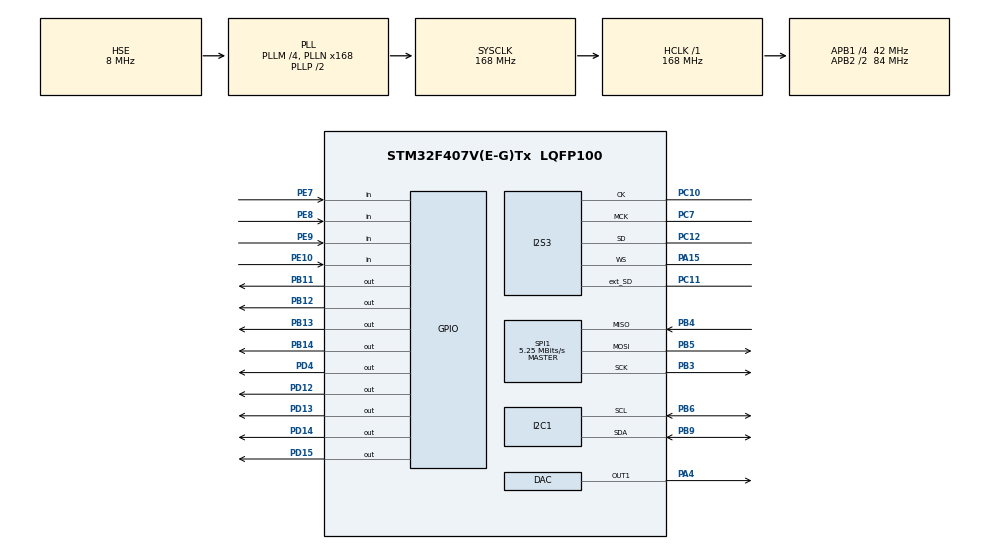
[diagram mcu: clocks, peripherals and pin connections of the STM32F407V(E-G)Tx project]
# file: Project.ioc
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Dma.Request0=SPI3_TX
Dma.SPI3_TX.0.Direction=DMA_MEMORY_TO_PERIPH
Dma.SPI3_TX.0.FIFOMode=DMA_FIFOMODE_ENABLE
Dma.SPI3_TX.0.FIFOThreshold=DMA_FIFO_THRESHOLD_FULL
Dma.SPI3_TX.0.Instance=DMA1_Stream5
Dma.SPI3_TX.0.MemBurst=DMA_MBURST_SINGLE
Dma.SPI3_TX.0.MemDataAlignment=DMA_MDATAALIGN_HALFWORD
Dma.SPI3_TX.0.MemInc=DMA_MINC_ENABLE
Dma.SPI3_TX.0.Mode=DMA_CIRCULAR
Dma.SPI3_TX.0.PeriphBurst=DMA_PBURST_SINGLE
Dma.SPI3_TX.0.PeriphDataAlignment=DMA_PDATAALIGN_HALFWORD
Dma.SPI3_TX.0.PeriphInc=DMA_PINC_DISABLE
Dma.SPI3_TX.0.Priority=DMA_PRIORITY_LOW
I2S3.AudioFreq=I2S_AUDIOFREQ_48K
I2S3.CPOL=I2S_CPOL_LOW
I2S3.DataFormat=I2S_DATAFORMAT_16B
I2S3.ErrorAudioFreq=-2.34 %
I2S3.FullDuplexMode=I2S_FULLDUPLEXMODE_ENABLE
I2S3.Instance=SPI$Index
I2S3.RealAudioFreq=46.875 KHz
I2S3.Standard=I2S_STANDARD_PHILIPS
I2S3.VirtualMode=I2S_MODE_MASTER
Mcu.Family=STM32F4
Mcu.Name=STM32F407V(E-G)Tx
Mcu.Package=LQFP100
NVIC.DMA1_Stream5_IRQn=true\:0\:0\:false\:false\:true\:false\:true
NVIC.PriorityGroup=NVIC_PRIORITYGROUP_4
NVIC.TIM1_BRK_TIM9_IRQn=true\:0\:0\:false\:false\:true\:true\:true
NVIC.TIM2_IRQn=true\:0\:0\:false\:false\:true\:true\:true
NVIC.TIM3_IRQn=true\:0\:0\:false\:false\:true\:true\:true
NVIC.TIM5_IRQn=true\:0\:0\:false\:false\:true\:true\:true
PA15.Mode=Full_Duplex_Master
PA15.Signal=I2S3_WS
PA4.Signal=COMP_DAC1_group
PB11.Signal=GPIO_Output
PB12.Signal=GPIO_Output
PB13.Signal=GPIO_Output
PB14.Signal=GPIO_Output
PB3.Mode=Full_Duplex_Master
PB3.Signal=SPI1_SCK
PB4.Mode=Full_Duplex_Master
PB4.Signal=SPI1_MISO
PB5.Mode=Full_Duplex_Master
PB5.Signal=SPI1_MOSI
PB6.Mode=I2C
PB6.Signal=I2C1_SCL
PB9.Mode=I2C
PB9.Signal=I2C1_SDA
PC10.Mode=Full_Duplex_Master
PC10.Signal=I2S3_CK
PC11.Mode=Full_Duplex_Master
PC11.Signal=I2S3_ext_SD
PC12.Mode=Full_Duplex_Master
PC12.Signal=I2S3_SD
PC7.Mode=Master_Clock_Activated
PC7.Signal=I2S3_MCK
PD12.Signal=GPIO_Output
PD13.Signal=GPIO_Output
PD14.Signal=GPIO_Output
PD15.Signal=GPIO_Output
PD4.Signal=GPIO_Output
PE10.GPIO_PuPd=GPIO_PULLDOWN
PE10.Signal=GPIO_Input
PE7.GPIO_PuPd=GPIO_PULLDOWN
PE7.Signal=GPIO_Input
PE8.GPIO_PuPd=GPIO_PULLDOWN
PE8.Signal=GPIO_Input
PE9.GPIO_PuPd=GPIO_PULLDOWN
PE9.Signal=GPIO_Input
PH0-OSC_IN.Mode=HSE-External-Oscillator
PH0-OSC_IN.Signal=RCC_OSC_IN
PH1-OSC_OUT.Mode=HSE-External-Oscillator
PH1-OSC_OUT.Signal=RCC_OSC_OUT
ProjectManager.HeapSize=0x200
ProjectManager.StackSize=0x400
ProjectManager.TargetToolchain=SW4STM32
RCC.48MHZClocksFreq_Value=84000000
RCC.AHBFreq_Value=168000000
RCC.APB1CLKDivider=RCC_HCLK_DIV4
RCC.APB1Freq_Value=42000000
RCC.APB1TimFreq_Value=84000000
RCC.APB2CLKDivider=RCC_HCLK_DIV2
RCC.APB2Freq_Value=84000000
RCC.APB2TimFreq_Value=168000000
RCC.CortexFreq_Value=168000000
RCC.HCLKFreq_Value=168000000
RCC.HSE_VALUE=8000000
RCC.HSI_VALUE=16000000
RCC.LSE_VALUE=32768
RCC.PLLI2SN=96
RCC.PLLM=4
RCC.PLLN=168
RCC.PLLSourceVirtual=RCC_PLLSOURCE_HSE
RCC.SYSCLKFreq_VALUE=168000000
RCC.SYSCLKSource=RCC_SYSCLKSOURCE_PLLCLK
RCC.VCOOutputFreq_Value=336000000
SH.COMP_DAC1_group.0=DAC_OUT1,DAC_OUT1
SPI1.BaudRatePrescaler=SPI_BAUDRATEPRESCALER_16
SPI1.CalculateBaudRate=5.25 MBits/s
SPI1.Direction=SPI_DIRECTION_2LINES
SPI1.Mode=SPI_MODE_MASTER
SPI1.VirtualType=VM_MASTER
TIM2.Period=9
TIM2.Prescaler=524
TIM2.TIM_MasterOutputTrigger=TIM_TRGO_UPDATE
TIM3.Period=84
TIM3.Prescaler=99
TIM3.TIM_MasterOutputTrigger=TIM_TRGO_UPDATE
TIM5.Period=9
TIM5.Prescaler=83
TIM5.TIM_MasterOutputTrigger=TIM_TRGO_UPDATE
TIM9.Period=1999
TIM9.Prescaler=8399
VP_TIM2_VS_ClockSourceINT.Mode=Internal
VP_TIM3_VS_ClockSourceINT.Mode=Internal
VP_TIM5_VS_ClockSourceINT.Mode=Internal
VP_TIM9_VS_ClockSourceINT.Mode=Internal
board=custom

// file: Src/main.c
/* USER CODE BEGIN Header */
/**
 ******************************************************************************
 * @file           : main.c
 * @brief          : Main program body
 ******************************************************************************
 * @attention
 *
 * <h2><center>&copy; Copyright (c) 2019 STMicroelectronics.
 * All rights reserved.</center></h2>
 *
 * This software component is licensed by ST under BSD 3-Clause license,
 * the "License"; You may not use this file except in compliance with the
 * License. You may obtain a copy of the License at:
 *                        opensource.org/licenses/BSD-3-Clause
 *
 ******************************************************************************
 */
/* USER CODE END Header */

#include "main.h"

/* USER CODE BEGIN Includes */
#include "MY_CS43L22.h"
#include <math.h>
#include "ff.h"
#include "Keypad.h"

/* USER CODE END Includes */

/* USER CODE BEGIN PD */

#define numOfSample 4

// sdcard
#define  	FA_READ         	0x01
#define  	FA_WRITE        	0x02
#define  	FA_OPEN_EXISTING	0x00
#define  	FA_CREATE_NEW   	0x04
#define  	FA_CREATE_ALWAYS	0x08
#define  	FA_OPEN_ALWAYS  	0x10
#define  	FA_OPEN_APPEND  	0x30
/* USER CODE END PD */

DAC_HandleTypeDef hdac;

I2C_HandleTypeDef hi2c1;

I2S_HandleTypeDef hi2s3;
DMA_HandleTypeDef hdma_spi3_tx;

SPI_HandleTypeDef hspi1;

TIM_HandleTypeDef htim2;
TIM_HandleTypeDef htim3;
TIM_HandleTypeDef htim5;
TIM_HandleTypeDef htim9;

/* USER CODE BEGIN PV */

int count = 0;

// sdcard
static FATFS FatFs;    	//uchwyt do urzdzenia FatFs (dysku, karty SD...)
FRESULT fresult;		 //do przechowywania wyniku operacji na bibliotece FatFs
struct SAMPLE {
	FIL file;               //uchwyt do otwartego pliku
	WORD bytes_read;		//liczba odczytanych bitów
	FSIZE_t ofs;        //offset pliku
};

int counter = 0;
int whichSampler = 0;

struct SAMPLE samples[numOfSample];

uint8_t sampleBuffer[numOfSample][2][512]; //bufory odczytu i zapisu
bool activeSamples[numOfSample];
bool samplesFlags[numOfSample][2];

//Keypad
Keypad_WiresTypeDef keypad_struct;
bool switches[16];
/* USER CODE END PV */

void SystemClock_Config(void);
static void MX_GPIO_Init(void);
static void MX_DMA_Init(void);
static void MX_DAC_Init(void);
static void MX_I2C1_Init(void);
static void MX_I2S3_Init(void);
static void MX_TIM2_Init(void);
static void MX_SPI1_Init(void);
static void MX_TIM3_Init(void);
static void MX_TIM5_Init(void);
static void MX_TIM9_Init(void);

int main(void)
{

  /* MCU Configuration--------------------------------------------------------*/

  /* Reset of all peripherals, Initializes the Flash interface and the Systick. */
  HAL_Init();

  /* Configure the system clock */
  SystemClock_Config();

  /* Initialize all configured peripherals */
  MX_GPIO_Init();
  MX_DMA_Init();
  MX_DAC_Init();
  MX_I2C1_Init();
  MX_I2S3_Init();
  MX_TIM2_Init();
  MX_SPI1_Init();
  MX_TIM3_Init();
  MX_TIM5_Init();
  MX_TIM9_Init();
  /* USER CODE BEGIN 2 */

	//keypad
	keypad_struct.IN0_Port = GPIOE;
	keypad_struct.IN1_Port = GPIOE;
	keypad_struct.IN2_Port = GPIOE;
	keypad_struct.IN3_Port = GPIOE;

	keypad_struct.OUT0_Port = GPIOB;
	keypad_struct.OUT1_Port = GPIOB;
	keypad_struct.OUT2_Port = GPIOB;
	keypad_struct.OUT3_Port = GPIOB;

	keypad_struct.IN0pin = GPIO_PIN_7;
	keypad_struct.IN1pin = GPIO_PIN_8;
	keypad_struct.IN2pin = GPIO_PIN_9;
	keypad_struct.IN3pin = GPIO_PIN_10;

	keypad_struct.OUT0pin = GPIO_PIN_11;
	keypad_struct.OUT1pin = GPIO_PIN_12;
	keypad_struct.OUT2pin = GPIO_PIN_13;
	keypad_struct.OUT3pin = GPIO_PIN_14;

	Keypad4x4_Init(&keypad_struct);

	// sdcard
	fresult = f_mount(&FatFs, "", 0);
	fresult = f_open(&samples[0].file, "home.wav", FA_READ);
	fresult = f_open(&samples[1].file, "ruins.wav", FA_READ);
	fresult = f_open(&samples[2].file, "snowy.wav", FA_READ);
	fresult = f_open(&samples[3].file, "water.wav", FA_READ);

	for (uint8_t i = 0; i < numOfSample; i++) {
		samplesFlags[i][0] = 0;
		samplesFlags[i][1] = 0;
		activeSamples[i] = false;
	}

	// dac
	CS43_Init(hi2c1, MODE_ANALOG); 			//inicjalizacja interfejsu
	CS43_SetVolume(50);             			//glosnosc
	CS43_Enable_RightLeft(CS43_RIGHT_LEFT); 	//wybór kana³ów
	CS43_Start();

	HAL_I2S_Transmit_DMA(&hi2s3, (uint16_t *) " ", 1);
	HAL_DAC_Start(&hdac, DAC_CHANNEL_1);	//start DAC
	HAL_TIM_Base_Start_IT(&htim2);		//start timera2
	HAL_TIM_Base_Start_IT(&htim3);		//start timera3
	HAL_TIM_Base_Start_IT(&htim5);		//start timera5

  /* USER CODE END 2 */

  /* Infinite loop */
	while (1) {

	}
}

void SystemClock_Config(void)
{
  RCC_OscInitTypeDef RCC_OscInitStruct = {0};
  RCC_ClkInitTypeDef RCC_ClkInitStruct = {0};
  RCC_PeriphCLKInitTypeDef PeriphClkInitStruct = {0};

  /** Configure the main internal regulator output voltage
  */
  __HAL_RCC_PWR_CLK_ENABLE();
  __HAL_PWR_VOLTAGESCALING_CONFIG(PWR_REGULATOR_VOLTAGE_SCALE1);
  /** Initializes the CPU, AHB and APB busses clocks
  */
  RCC_OscInitStruct.OscillatorType = RCC_OSCILLATORTYPE_HSE;
  RCC_OscInitStruct.HSEState = RCC_HSE_ON;
  RCC_OscInitStruct.PLL.PLLState = RCC_PLL_ON;
  RCC_OscInitStruct.PLL.PLLSource = RCC_PLLSOURCE_HSE;
  RCC_OscInitStruct.PLL.PLLM = 4;
  RCC_OscInitStruct.PLL.PLLN = 168;
  RCC_OscInitStruct.PLL.PLLP = RCC_PLLP_DIV2;
  RCC_OscInitStruct.PLL.PLLQ = 4;
  if (HAL_RCC_OscConfig(&RCC_OscInitStruct) != HAL_OK)
  {
    Error_Handler();
  }
  /** Initializes the CPU, AHB and APB busses clocks
  */
  RCC_ClkInitStruct.ClockType = RCC_CLOCKTYPE_HCLK|RCC_CLOCKTYPE_SYSCLK
                              |RCC_CLOCKTYPE_PCLK1|RCC_CLOCKTYPE_PCLK2;
  RCC_ClkInitStruct.SYSCLKSource = RCC_SYSCLKSOURCE_PLLCLK;
  RCC_ClkInitStruct.AHBCLKDivider = RCC_SYSCLK_DIV1;
  RCC_ClkInitStruct.APB1CLKDivider = RCC_HCLK_DIV4;
  RCC_ClkInitStruct.APB2CLKDivider = RCC_HCLK_DIV2;

  if (HAL_RCC_ClockConfig(&RCC_ClkInitStruct, FLASH_LATENCY_5) != HAL_OK)
  {
    Error_Handler();
  }
  PeriphClkInitStruct.PeriphClockSelection = RCC_PERIPHCLK_I2S;
  PeriphClkInitStruct.PLLI2S.PLLI2SN = 96;
  PeriphClkInitStruct.PLLI2S.PLLI2SR = 2;
  if (HAL_RCCEx_PeriphCLKConfig(&PeriphClkInitStruct) != HAL_OK)
  {
    Error_Handler();
  }
}

static void MX_DAC_Init(void)
{

  DAC_ChannelConfTypeDef sConfig = {0};

  /** DAC Initialization
  */
  hdac.Instance = DAC;
  if (HAL_DAC_Init(&hdac) != HAL_OK)
  {
    Error_Handler();
  }
  /** DAC channel OUT1 config
  */
  sConfig.DAC_Trigger = DAC_TRIGGER_NONE;
  sConfig.DAC_OutputBuffer = DAC_OUTPUTBUFFER_ENABLE;
  if (HAL_DAC_ConfigChannel(&hdac, &sConfig, DAC_CHANNEL_1) != HAL_OK)
  {
    Error_Handler();
  }

}

static void MX_I2C1_Init(void)
{

  hi2c1.Instance = I2C1;
  hi2c1.Init.ClockSpeed = 100000;
  hi2c1.Init.DutyCycle = I2C_DUTYCYCLE_2;
  hi2c1.Init.OwnAddress1 = 0;
  hi2c1.Init.AddressingMode = I2C_ADDRESSINGMODE_7BIT;
  hi2c1.Init.DualAddressMode = I2C_DUALADDRESS_DISABLE;
  hi2c1.Init.OwnAddress2 = 0;
  hi2c1.Init.GeneralCallMode = I2C_GENERALCALL_DISABLE;
  hi2c1.Init.NoStretchMode = I2C_NOSTRETCH_DISABLE;
  if (HAL_I2C_Init(&hi2c1) != HAL_OK)
  {
    Error_Handler();
  }

}

static void MX_I2S3_Init(void)
{

  hi2s3.Instance = SPI3;
  hi2s3.Init.Mode = I2S_MODE_MASTER_TX;
  hi2s3.Init.Standard = I2S_STANDARD_PHILIPS;
  hi2s3.Init.DataFormat = I2S_DATAFORMAT_16B;
  hi2s3.Init.MCLKOutput = I2S_MCLKOUTPUT_ENABLE;
  hi2s3.Init.AudioFreq = I2S_AUDIOFREQ_48K;
  hi2s3.Init.CPOL = I2S_CPOL_LOW;
  hi2s3.Init.ClockSource = I2S_CLOCK_PLL;
  hi2s3.Init.FullDuplexMode = I2S_FULLDUPLEXMODE_ENABLE;
  if (HAL_I2S_Init(&hi2s3) != HAL_OK)
  {
    Error_Handler();
  }

}

static void MX_SPI1_Init(void)
{

  /* SPI1 parameter configuration*/
  hspi1.Instance = SPI1;
  hspi1.Init.Mode = SPI_MODE_MASTER;
  hspi1.Init.Direction = SPI_DIRECTION_2LINES;
  hspi1.Init.DataSize = SPI_DATASIZE_8BIT;
  hspi1.Init.CLKPolarity = SPI_POLARITY_LOW;
  hspi1.Init.CLKPhase = SPI_PHASE_1EDGE;
  hspi1.Init.NSS = SPI_NSS_SOFT;
  hspi1.Init.BaudRatePrescaler = SPI_BAUDRATEPRESCALER_16;
  hspi1.Init.FirstBit = SPI_FIRSTBIT_MSB;
  hspi1.Init.TIMode = SPI_TIMODE_DISABLE;
  hspi1.Init.CRCCalculation = SPI_CRCCALCULATION_DISABLE;
  hspi1.Init.CRCPolynomial = 10;
  if (HAL_SPI_Init(&hspi1) != HAL_OK)
  {
    Error_Handler();
  }

}

static void MX_TIM2_Init(void)
{

  TIM_ClockConfigTypeDef sClockSourceConfig = {0};
  TIM_MasterConfigTypeDef sMasterConfig = {0};

  htim2.Instance = TIM2;
  htim2.Init.Prescaler = 524;
  htim2.Init.CounterMode = TIM_COUNTERMODE_UP;
  htim2.Init.Period = 9;
  htim2.Init.ClockDivision = TIM_CLOCKDIVISION_DIV1;
  htim2.Init.AutoReloadPreload = TIM_AUTORELOAD_PRELOAD_DISABLE;
  if (HAL_TIM_Base_Init(&htim2) != HAL_OK)
  {
    Error_Handler();
  }
  sClockSourceConfig.ClockSource = TIM_CLOCKSOURCE_INTERNAL;
  if (HAL_TIM_ConfigClockSource(&htim2, &sClockSourceConfig) != HAL_OK)
  {
    Error_Handler();
  }
  sMasterConfig.MasterOutputTrigger = TIM_TRGO_UPDATE;
  sMasterConfig.MasterSlaveMode = TIM_MASTERSLAVEMODE_DISABLE;
  if (HAL_TIMEx_MasterConfigSynchronization(&htim2, &sMasterConfig) != HAL_OK)
  {
    Error_Handler();
  }

}

static void MX_TIM3_Init(void)
{

  TIM_ClockConfigTypeDef sClockSourceConfig = {0};
  TIM_MasterConfigTypeDef sMasterConfig = {0};

  htim3.Instance = TIM3;
  htim3.Init.Prescaler = 99;
  htim3.Init.CounterMode = TIM_COUNTERMODE_UP;
  htim3.Init.Period = 84;
  htim3.Init.ClockDivision = TIM_CLOCKDIVISION_DIV1;
  htim3.Init.AutoReloadPreload = TIM_AUTORELOAD_PRELOAD_DISABLE;
  if (HAL_TIM_Base_Init(&htim3) != HAL_OK)
  {
    Error_Handler();
  }
  sClockSourceConfig.ClockSource = TIM_CLOCKSOURCE_INTERNAL;
  if (HAL_TIM_ConfigClockSource(&htim3, &sClockSourceConfig) != HAL_OK)
  {
    Error_Handler();
  }
  sMasterConfig.MasterOutputTrigger = TIM_TRGO_UPDATE;
  sMasterConfig.MasterSlaveMode = TIM_MASTERSLAVEMODE_DISABLE;
  if (HAL_TIMEx_MasterConfigSynchronization(&htim3, &sMasterConfig) != HAL_OK)
  {
    Error_Handler();
  }

}

static void MX_TIM5_Init(void)
{

  TIM_ClockConfigTypeDef sClockSourceConfig = {0};
  TIM_MasterConfigTypeDef sMasterConfig = {0};

  htim5.Instance = TIM5;
  htim5.Init.Prescaler = 120;
  htim5.Init.CounterMode = TIM_COUNTERMODE_UP;
  htim5.Init.Period = 9;
  htim5.Init.ClockDivision = TIM_CLOCKDIVISION_DIV1;
  htim5.Init.AutoReloadPreload = TIM_AUTORELOAD_PRELOAD_DISABLE;
  if (HAL_TIM_Base_Init(&htim5) != HAL_OK)
  {
    Error_Handler();
  }
  sClockSourceConfig.ClockSource = TIM_CLOCKSOURCE_INTERNAL;
  if (HAL_TIM_ConfigClockSource(&htim5, &sClockSourceConfig) != HAL_OK)
  {
    Error_Handler();
  }
  sMasterConfig.MasterOutputTrigger = TIM_TRGO_UPDATE;
  sMasterConfig.MasterSlaveMode = TIM_MASTERSLAVEMODE_DISABLE;
  if (HAL_TIMEx_MasterConfigSynchronization(&htim5, &sMasterConfig) != HAL_OK)
  {
    Error_Handler();
  }

}

static void MX_TIM9_Init(void)
{

  TIM_ClockConfigTypeDef sClockSourceConfig = {0};

  htim9.Instance = TIM9;
  htim9.Init.Prescaler = 8399;
  htim9.Init.CounterMode = TIM_COUNTERMODE_UP;
  htim9.Init.Period = 1999;
  htim9.Init.ClockDivision = TIM_CLOCKDIVISION_DIV1;
  htim9.Init.AutoReloadPreload = TIM_AUTORELOAD_PRELOAD_DISABLE;
  if (HAL_TIM_Base_Init(&htim9) != HAL_OK)
  {
    Error_Handler();
  }
  sClockSourceConfig.ClockSource = TIM_CLOCKSOURCE_INTERNAL;
  if (HAL_TIM_ConfigClockSource(&htim9, &sClockSourceConfig) != HAL_OK)
  {
    Error_Handler();
  }

}

static void MX_DMA_Init(void)
{
  /* DMA controller clock enable */
  __HAL_RCC_DMA1_CLK_ENABLE();

  /* DMA interrupt init */
  /* DMA1_Stream5_IRQn interrupt configuration */
  HAL_NVIC_SetPriority(DMA1_Stream5_IRQn, 0, 0);
  HAL_NVIC_EnableIRQ(DMA1_Stream5_IRQn);

}

static void MX_GPIO_Init(void)
{
  GPIO_InitTypeDef GPIO_InitStruct = {0};

  /* GPIO Ports Clock Enable */
  __HAL_RCC_GPIOH_CLK_ENABLE();
  __HAL_RCC_GPIOA_CLK_ENABLE();
  __HAL_RCC_GPIOE_CLK_ENABLE();
  __HAL_RCC_GPIOB_CLK_ENABLE();
  __HAL_RCC_GPIOD_CLK_ENABLE();
  __HAL_RCC_GPIOC_CLK_ENABLE();

  /*Configure GPIO pin Output Level */
  HAL_GPIO_WritePin(GPIOB, GPIO_PIN_11|GPIO_PIN_12|GPIO_PIN_13|GPIO_PIN_14, GPIO_PIN_RESET);

  /*Configure GPIO pin Output Level */
  HAL_GPIO_WritePin(GPIOD, GPIO_PIN_12|GPIO_PIN_13|GPIO_PIN_14|GPIO_PIN_15
                          |GPIO_PIN_4, GPIO_PIN_RESET);

  /*Configure GPIO pins : PE7 PE8 PE9 PE10 */
  GPIO_InitStruct.Pin = GPIO_PIN_7|GPIO_PIN_8|GPIO_PIN_9|GPIO_PIN_10;
  GPIO_InitStruct.Mode = GPIO_MODE_INPUT;
  GPIO_InitStruct.Pull = GPIO_PULLDOWN;
  HAL_GPIO_Init(GPIOE, &GPIO_InitStruct);

  /*Configure GPIO pins : PB11 PB12 PB13 PB14 */
  GPIO_InitStruct.Pin = GPIO_PIN_11|GPIO_PIN_12|GPIO_PIN_13|GPIO_PIN_14;
  GPIO_InitStruct.Mode = GPIO_MODE_OUTPUT_PP;
  GPIO_InitStruct.Pull = GPIO_NOPULL;
  GPIO_InitStruct.Speed = GPIO_SPEED_FREQ_LOW;
  HAL_GPIO_Init(GPIOB, &GPIO_InitStruct);

  /*Configure GPIO pins : PD12 PD13 PD14 PD15
                           PD4 */
  GPIO_InitStruct.Pin = GPIO_PIN_12|GPIO_PIN_13|GPIO_PIN_14|GPIO_PIN_15
                          |GPIO_PIN_4;
  GPIO_InitStruct.Mode = GPIO_MODE_OUTPUT_PP;
  GPIO_InitStruct.Pull = GPIO_NOPULL;
  GPIO_InitStruct.Speed = GPIO_SPEED_FREQ_LOW;
  HAL_GPIO_Init(GPIOD, &GPIO_InitStruct);

}

/* USER CODE BEGIN 4 */
void HAL_TIM_PeriodElapsedCallback(TIM_HandleTypeDef *htim) {
	UNUSED(htim);
	if (htim->Instance == TIM5) {
		for (uint8_t i = 0; i < numOfSample; i++) {
			if (activeSamples[i]) {
				if (samplesFlags[i][0] == 0 && samplesFlags[i][1] == 1) {
					fresult = f_read(&samples[i].file, sampleBuffer[i][0],
							(FSIZE_t) 512, &samples[i].bytes_read);
					samplesFlags[i][0] = 1;
				}

				else if (samplesFlags[i][0] == 1 && samplesFlags[i][1] == 0) {
					fresult = f_read(&samples[i].file, sampleBuffer[i][1],
							(FSIZE_t) 512, &samples[i].bytes_read);
					samplesFlags[i][0] = 0;
				}
			}
		}
	}

	if (htim->Instance == TIM3) {

	    Keypad4x4_ReadKeypad(switches);
	    for (uint8_t i = 0; i < 16; i++) {
	      if (switches[i]) {
	    	  for(int i = 0; i< 10000; i++);
	        if (switches[8]) {
	        	activeSamples[0] = false;
	          HAL_GPIO_WritePin(GPIOD, GPIO_PIN_12, SET);
	          HAL_GPIO_WritePin(GPIOD, GPIO_PIN_13, RESET);
	          HAL_GPIO_WritePin(GPIOD, GPIO_PIN_14, RESET);
	          HAL_GPIO_WritePin(GPIOD, GPIO_PIN_15, RESET);
	          for(int i = 0; i<10000;i++);
	        }
	        if (switches[9]) {
	        	activeSamples[1] = false;
	          HAL_GPIO_WritePin(GPIOD, GPIO_PIN_13, SET);
	          HAL_GPIO_WritePin(GPIOD, GPIO_PIN_12, RESET);
	          HAL_GPIO_WritePin(GPIOD, GPIO_PIN_14, RESET);
	          HAL_GPIO_WritePin(GPIOD, GPIO_PIN_15, RESET);
	          for(int i = 0; i<10000;i++);
	        }
	        if (switches[10]) {
	        	activeSamples[2] = false;
	          HAL_GPIO_WritePin(GPIOD, GPIO_PIN_14, SET);
	          HAL_GPIO_WritePin(GPIOD, GPIO_PIN_12, RESET);
	          HAL_GPIO_WritePin(GPIOD, GPIO_PIN_13, RESET);
	          HAL_GPIO_WritePin(GPIOD, GPIO_PIN_15, RESET);
	          for(int i = 0; i<10000;i++);
	        }
	        if (switches[11]) {
	        	activeSamples[3] = false;
	          HAL_GPIO_WritePin(GPIOD, GPIO_PIN_15, SET);
	          HAL_GPIO_WritePin(GPIOD, GPIO_PIN_12, RESET);
	          HAL_GPIO_WritePin(GPIOD, GPIO_PIN_13, RESET);
	          HAL_GPIO_WritePin(GPIOD, GPIO_PIN_14, RESET);
	          for(int i = 0; i<10000;i++);
	        }
	        if (switches[12]) {
	        	activeSamples[0] = true;
	          HAL_GPIO_WritePin(GPIOD, GPIO_PIN_12, SET);
	          HAL_GPIO_WritePin(GPIOD, GPIO_PIN_13, RESET);
	          HAL_GPIO_WritePin(GPIOD, GPIO_PIN_14, RESET);
	          HAL_GPIO_WritePin(GPIOD, GPIO_PIN_15, RESET);
	          for(int i = 0; i<10000;i++);
	        }
	        if (switches[13]) {
	        	activeSamples[1] = true;
	          HAL_GPIO_WritePin(GPIOD, GPIO_PIN_13, SET);
	          HAL_GPIO_WritePin(GPIOD, GPIO_PIN_12, RESET);
	          HAL_GPIO_WritePin(GPIOD, GPIO_PIN_14, RESET);
	          HAL_GPIO_WritePin(GPIOD, GPIO_PIN_15, RESET);
	          for(int i = 0; i<10000;i++);
	        }
	        if (switches[14]) {
	        	activeSamples[2] = true;
	          HAL_GPIO_WritePin(GPIOD, GPIO_PIN_14, SET);
	          HAL_GPIO_WritePin(GPIOD, GPIO_PIN_12, RESET);
	          HAL_GPIO_WritePin(GPIOD, GPIO_PIN_13, RESET);
	          HAL_GPIO_WritePin(GPIOD, GPIO_PIN_15, RESET);
	          for(int i = 0; i<10000;i++);
	        }
	        if (switches[15]) {
	        	activeSamples[3] = true;
	          HAL_GPIO_WritePin(GPIOD, GPIO_PIN_15, SET);
	          HAL_GPIO_WritePin(GPIOD, GPIO_PIN_12, RESET);
	          HAL_GPIO_WritePin(GPIOD, GPIO_PIN_13, RESET);
	          HAL_GPIO_WritePin(GPIOD, GPIO_PIN_14, RESET);
	          for(int i = 0; i<10000;i++);
	        }
	      }
	    }
	  }
	if (htim->Instance == TIM2) {

		double output16b = 0;

		for (uint8_t i = 0; i < numOfSample; i++) {
			if (activeSamples[i]) {
				uint8_t first8b = 0, numOfBuffer = 0;

				if (activeSamples[i]) {
					if (samplesFlags[i][1] == 0) {
						numOfBuffer = 0;
					} else {
						numOfBuffer = 1;
					}

					first8b = sampleBuffer[i][numOfBuffer][count];

					output16b = (output16b + first8b) - ((output16b*first8b)/4096);
				}
			}

		}

		count += 1;
		if (count >= 512) {
			for (uint8_t i = 0; i < numOfSample; i++) {
				if (activeSamples[i]) {
					count = 0;
					samples[i].ofs = samples[i].ofs + (FSIZE_t) 512;
					fresult = f_lseek(&samples[i].file, samples[i].ofs);
					if (samplesFlags[i][1] == 1) {
						samplesFlags[i][1] = 0;
					} else if (samplesFlags[i][1] == 0) {
						samplesFlags[i][1] = 1;
					}
				}
			}
		}

		HAL_DAC_SetValue(&hdac, DAC_CHANNEL_1, DAC_ALIGN_12B_R,
				(uint16_t) ((output16b)));

	}

}
/* USER CODE END 4 */

void Error_Handler(void)
{
}

/************************ (C) COPYRIGHT STMicroelectronics *****END OF FILE****/
